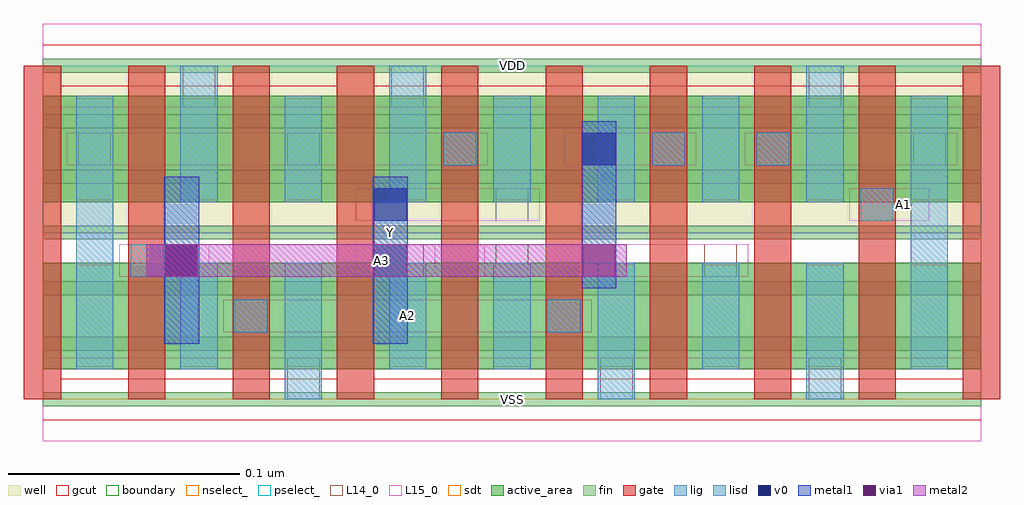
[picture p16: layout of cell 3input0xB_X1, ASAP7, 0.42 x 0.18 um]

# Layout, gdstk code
import gdstk
lib = gdstk.Library(unit=1e-6, precision=2.5e-10)
def R(c, l, rs):  # rectangles x0, y0, x1, y1
    for r in rs: c.add(gdstk.rectangle(r[:2], r[2:], *l))
def A(c, l, x, y, w, h, nx, ny, dx, dy):  # array of equal rectangles
    R(c, l, [(x+i*dx, y+j*dy, x+i*dx+w, y+j*dy+h) for i in range(nx) for j in range(ny)])
def P(c, l, *ps):  # polygons
    for p in ps: c.add(gdstk.Polygon(p, *l))
well = (1, 0)
fin = (2, 0)
gate = (7, 0)
gcut = (10, 0)
active_area = (11, 0)
nselect_ = (12, 0)
pselect_ = (13, 0)
L14_0 = (14, 0)
L15_0 = (15, 0)
lig = (16, 0)
lisd = (17, 0)
v0 = (18, 0)
metal1 = (19, 0)
metal2 = (20, 0)
via1 = (21, 0)
sdt = (88, 0)
boundary = (100, 0)

c_3input0xb_x1 = lib.new_cell('3input0xB_X1')
R(c_3input0xb_x1, well, [(0,0.072,0.405,0.144)])
A(c_3input0xb_x1, fin, 0, -0.003, 0.405, 0.006, 1, 7, 0, 0.024)
A(c_3input0xb_x1, gate, -0.008, 0, 0.016, 0.144, 10, 1, 0.045, 0)
P(c_3input0xb_x1, gcut, [(0,-0.009),(0,0),(-0.008,0),(-0.008,0.135),(0.008,0.135),(0.008,0.009),(0.127,0.009),(0.127,0.135),(0.143,0.135),(0.143,0.009),(0.397,0.009),(0.397,0.135),(-0.008,0.135),(-0.008,0.144),(0,0.144),(0,0.153),(0.405,0.153),(0.405,0.144),(0.413,0.144),(0.413,0),(0.405,0),(0.405,-0.009)])
R(c_3input0xb_x1, active_area, [(0,0.013,0.405,0.059), (0,0.085,0.405,0.131)])
R(c_3input0xb_x1, nselect_, [(0,0,0.405,0.072)])
R(c_3input0xb_x1, pselect_, [(0,0.072,0.405,0.144)])
R(c_3input0xb_x1, L14_0, [(0.1055,0,0.1195,0.018), (0.2405,0,0.2545,0.018), (0.3305,0,0.3445,0.018), (0.083,0.029,0.097,0.043), (0.218,0.029,0.232,0.043), (0.038,0.053,0.052,0.067), (0.1505,0.053,0.1645,0.067), (0.1955,0.053,0.2095,0.067), (0.2855,0.053,0.2995,0.067), (0.1955,0.077,0.2095,0.091), (0.353,0.077,0.367,0.091), (0.0155,0.101,0.0295,0.115), (0.1055,0.101,0.1195,0.115), (0.173,0.101,0.187,0.115), (0.263,0.101,0.277,0.115), (0.308,0.101,0.322,0.115), (0.3755,0.101,0.3895,0.115), (0.0605,0.126,0.0745,0.144), (0.1505,0.126,0.1645,0.144), (0.3305,0.126,0.3445,0.144)])
R(c_3input0xb_x1, L15_0, [(0,-0.018,0.405,0.018), (0.078,0.029,0.237,0.043), (0.033,0.053,0.072,0.067), (0.135,0.053,0.1695,0.067), (0.1905,0.053,0.3045,0.067), (0.135,0.077,0.2145,0.091), (0.348,0.077,0.3825,0.091), (0.0105,0.101,0.192,0.115), (0.225,0.101,0.282,0.115), (0.303,0.101,0.3945,0.115), (0,0.126,0.405,0.162)])
R(c_3input0xb_x1, lig, [(0.083,0.029,0.097,0.043), (0.218,0.029,0.232,0.043), (0.038,0.053,0.052,0.067), (0.353,0.077,0.367,0.091), (0.173,0.101,0.187,0.115), (0.263,0.101,0.277,0.115), (0.308,0.101,0.322,0.115)])
A(c_3input0xb_x1, lisd, 0.1945, 0.085, 0.016, 0.046, 3, 1, 0.045, 0)
R(c_3input0xb_x1, lisd, [(0.1045,0,0.1205,0.059), (0.2395,0,0.2555,0.059), (0.3295,0,0.3455,0.059), (0.0145,0.013,0.0305,0.131), (0.0595,0.013,0.0755,0.059), (0.1495,0.013,0.1655,0.059), (0.1945,0.013,0.2105,0.059), (0.2845,0.013,0.3005,0.059), (0.3745,0.013,0.3905,0.131), (0.0595,0.085,0.0755,0.144), (0.1045,0.085,0.1205,0.131), (0.1495,0.085,0.1655,0.144), (0.3295,0.085,0.3455,0.144)])
R(c_3input0xb_x1, v0, [(0.053,0.053,0.067,0.067), (0.143,0.053,0.157,0.067), (0.143,0.077,0.157,0.091), (0.233,0.101,0.247,0.115)])
R(c_3input0xb_x1, metal1, [(0.0525,0.024,0.0675,0.096), (0.1425,0.024,0.1575,0.096), (0.2325,0.048,0.2475,0.12)])
R(c_3input0xb_x1, metal2, [(0.045,0.053,0.252,0.067)])
R(c_3input0xb_x1, via1, [(0.053,0.053,0.067,0.067), (0.233,0.053,0.247,0.067)])
A(c_3input0xb_x1, sdt, 0.0145, 0.014, 0.016, 0.044, 9, 2, 0.045, 0.072)
R(c_3input0xb_x1, boundary, [(0,0,0.405,0.144)])
c_3input0xb_x1.add(gdstk.Label('A1', (0.3713,0.084), layer=15, texttype=251))
c_3input0xb_x1.add(gdstk.Label('VSS', (0.2025,0), layer=15, texttype=251))
c_3input0xb_x1.add(gdstk.Label('VDD', (0.2025,0.144), layer=15, texttype=251))
c_3input0xb_x1.add(gdstk.Label('A2', (0.1575,0.036), layer=15, texttype=251))
c_3input0xb_x1.add(gdstk.Label('VSS', (0.2025,0), layer=15, texttype=251))
c_3input0xb_x1.add(gdstk.Label('VDD', (0.2025,0.144), layer=15, texttype=251))
c_3input0xb_x1.add(gdstk.Label('VSS', (0.2025,0), layer=15, texttype=251))
c_3input0xb_x1.add(gdstk.Label('VDD', (0.2025,0.144), layer=15, texttype=251))
c_3input0xb_x1.add(gdstk.Label('VSS', (0.2025,0), layer=15, texttype=251))
c_3input0xb_x1.add(gdstk.Label('VDD', (0.2025,0.144), layer=15, texttype=251))
c_3input0xb_x1.add(gdstk.Label('VSS', (0.2025,0), layer=3, texttype=251))
c_3input0xb_x1.add(gdstk.Label('VSS', (0.2025,0), layer=3, texttype=251))
c_3input0xb_x1.add(gdstk.Label('VSS', (0.2025,0), layer=3, texttype=251))
c_3input0xb_x1.add(gdstk.Label('VSS', (0.2025,0), layer=3, texttype=251))
c_3input0xb_x1.add(gdstk.Label('VDD', (0.2025,0.144), layer=1, texttype=251))
c_3input0xb_x1.add(gdstk.Label('VDD', (0.2025,0.144), layer=1, texttype=251))
c_3input0xb_x1.add(gdstk.Label('VDD', (0.2025,0.144), layer=1, texttype=251))
c_3input0xb_x1.add(gdstk.Label('VDD', (0.2025,0.144), layer=1, texttype=251))
c_3input0xb_x1.add(gdstk.Label('Y', (0.15,0.072), layer=19, texttype=251))
c_3input0xb_x1.add(gdstk.Label('A3', (0.1463,0.06), layer=20, texttype=251))

lib.write_gds('3input0xB_X1.gds')
